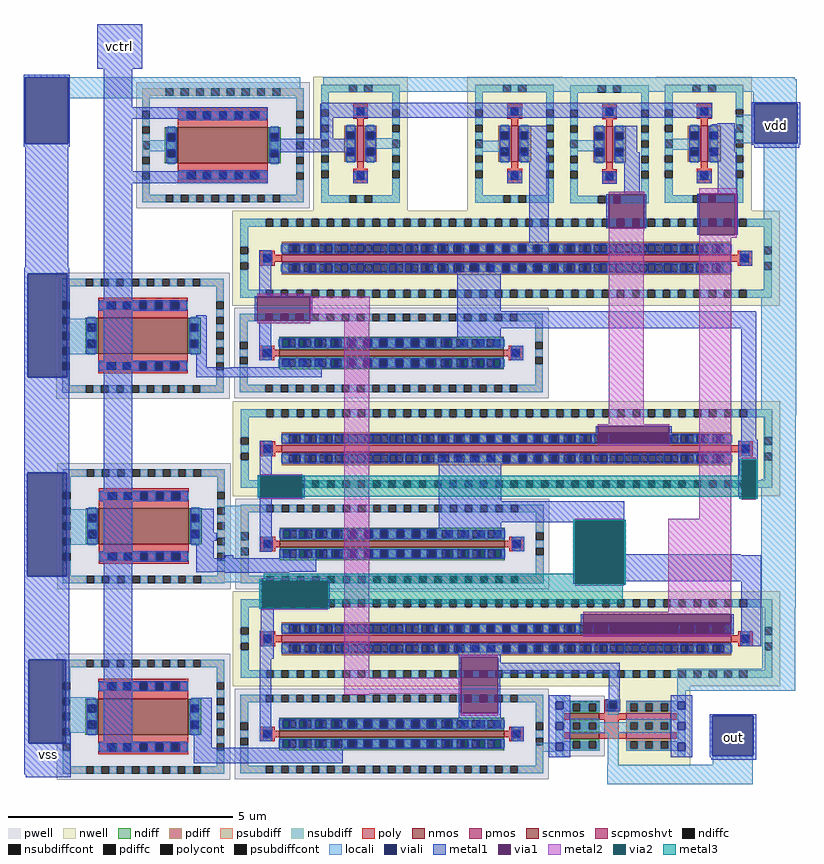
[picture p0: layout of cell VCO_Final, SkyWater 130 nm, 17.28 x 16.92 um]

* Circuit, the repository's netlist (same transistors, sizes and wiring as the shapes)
* NGSPICE file created from VCO_Final.ext - technology: sky130A

.subckt sky130_fd_sc_hd__inv_2 VPB VNB VPWR VGND Y A
X0 Y A VPWR VPB sky130_fd_pr__pfet_01v8_hvt ad=0.135 pd=1.27 as=0.26 ps=2.52 w=1 l=0.15
X1 VGND A Y VNB sky130_fd_pr__nfet_01v8 ad=0.169 pd=1.82 as=0.08775 ps=0.92 w=0.65 l=0.15
X2 Y A VGND VNB sky130_fd_pr__nfet_01v8 ad=0.08775 pd=0.92 as=0.169 ps=1.82 w=0.65 l=0.15
X3 VPWR A Y VPB sky130_fd_pr__pfet_01v8_hvt ad=0.26 pd=2.52 as=0.135 ps=1.27 w=1 l=0.15
.ends

.subckt sky130_fd_pr__nfet_01v8_BBNS5X a_15_n500# a_n175_n674# a_n73_n500# a_n33_n588#
X0 a_15_n500# a_n33_n588# a_n73_n500# a_n175_n674# sky130_fd_pr__nfet_01v8 ad=1.45 pd=10.58 as=1.45 ps=10.58 w=5 l=0.15
.ends

.subckt sky130_fd_pr__pfet_01v8_XYUFBL a_n73_n80# w_n211_n299# a_15_n80# a_n33_n177#
X0 a_15_n80# a_n33_n177# a_n73_n80# w_n211_n299# sky130_fd_pr__pfet_01v8 ad=0.232 pd=2.18 as=0.232 ps=2.18 w=0.8 l=0.15
.ends

.subckt sky130_fd_pr__pfet_01v8_XGA8MR a_n73_n1000# a_n33_n1097# w_n211_n1219# a_15_n1000#
X0 a_15_n1000# a_n33_n1097# a_n73_n1000# w_n211_n1219# sky130_fd_pr__pfet_01v8 ad=2.9 pd=20.58 as=2.9 ps=20.58 w=10 l=0.15
.ends

.subckt sky130_fd_pr__nfet_01v8_MMRDEV a_n258_n80# a_n200_n168# a_n360_n254# a_200_n80#
X0 a_200_n80# a_n200_n168# a_n258_n80# a_n360_n254# sky130_fd_pr__nfet_01v8 ad=0.232 pd=2.18 as=0.232 ps=2.18 w=0.8 l=2
.ends

.subckt VCO_Final vdd vss vctrl out
Xx1 vdd vss vdd vss out x1/A sky130_fd_sc_hd__inv_2
XM10 x1/A vss m1_1588_2388# m1_3008_2486# sky130_fd_pr__nfet_01v8_BBNS5X
XM11 vdd vdd m1_3044_5080# m1_3828_4970# sky130_fd_pr__pfet_01v8_XYUFBL
XM12 m1_3044_5080# x1/A vdd m1_3010_3332# sky130_fd_pr__pfet_01v8_XGA8MR
XM13 vss vctrl vss m1_1600_4108# sky130_fd_pr__nfet_01v8_MMRDEV
XM14 m1_1600_4108# vss m1_3010_3332# x1/A sky130_fd_pr__nfet_01v8_BBNS5X
XM1 m1_3828_4970# vctrl vss vss sky130_fd_pr__nfet_01v8_MMRDEV
XM2 m1_3828_4970# vdd vdd m1_3828_4970# sky130_fd_pr__pfet_01v8_XYUFBL
XM3 vdd vdd m1_3378_3812# m1_3828_4970# sky130_fd_pr__pfet_01v8_XYUFBL
XM4 m1_3378_3812# m1_3010_3332# vdd m1_3008_2486# sky130_fd_pr__pfet_01v8_XGA8MR
XM5 vss vctrl vss m1_1576_3378# sky130_fd_pr__nfet_01v8_MMRDEV
XM6 m1_1576_3378# vss m1_3008_2486# m1_3010_3332# sky130_fd_pr__nfet_01v8_BBNS5X
XM7 vdd vdd m1_3312_2962# m1_3828_4970# sky130_fd_pr__pfet_01v8_XYUFBL
XM8 m1_3312_2962# m1_3008_2486# vdd x1/A sky130_fd_pr__pfet_01v8_XGA8MR
XM9 m1_1588_2388# vctrl vss vss sky130_fd_pr__nfet_01v8_MMRDEV
.ends

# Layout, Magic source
magic
tech sky130A
magscale 1 2
<< nwell >>
rect 3896 5068 3964 5234
rect 3924 4948 4008 4990
rect 3838 4746 4008 4948
rect 3838 4728 4006 4746
rect 4068 3726 4100 3828
rect 3476 2734 3492 2738
rect 3476 2728 3798 2734
<< pwell >>
rect 1600 4380 1642 4384
rect 990 4210 1142 4368
rect 1600 4152 1646 4380
rect 1986 4152 2158 4182
rect 1600 4108 2158 4152
rect 1602 4106 2158 4108
rect 998 3362 1150 3520
rect 1600 3302 1678 3522
rect 1600 3240 2134 3302
rect 1600 3238 1678 3240
rect 990 2536 1142 2694
rect 1588 2390 1668 2680
<< locali >>
rect 1030 5350 2062 5442
rect 2164 5434 4264 5444
rect 2164 5378 4274 5434
rect 4080 5326 4274 5378
rect 4080 5276 4084 5326
rect 4002 5214 4084 5276
rect 1358 5114 1504 5162
rect 2358 5124 2504 5172
rect 2846 5112 2992 5160
rect 3266 5114 3412 5162
rect 3686 5120 3832 5168
rect 4000 5150 4084 5214
rect 4126 4498 4272 5148
rect 1026 4316 1142 4368
rect 1026 4272 1150 4316
rect 1026 4268 1148 4272
rect 1026 4210 1142 4268
rect 4116 3938 4272 4498
rect 4116 3928 4268 3938
rect 4126 3652 4268 3928
rect 1022 3464 1150 3520
rect 1022 3420 1154 3464
rect 1022 3362 1150 3420
rect 1718 3194 1828 3534
rect 4116 3082 4268 3652
rect 4120 3080 4268 3082
rect 4120 2810 4266 3080
rect 3742 2712 4266 2810
rect 1018 2616 1142 2682
rect 3434 2664 3476 2668
rect 3434 2630 3438 2664
rect 3472 2630 3476 2664
rect 3434 2626 3476 2630
rect 3742 2628 3778 2712
rect 1018 2572 1152 2616
rect 1018 2524 1142 2572
rect 3110 2440 3234 2480
rect 3432 2382 3480 2570
rect 3900 2382 4078 2422
rect 3430 2296 4078 2382
<< viali >>
rect 838 5146 1030 5442
rect 4084 5148 4276 5326
rect 850 4108 1026 4568
rect 846 3222 1022 3682
rect 854 2478 1018 2850
rect 3438 2630 3472 2664
rect 3898 2422 4080 2600
<< metal1 >>
rect 1158 5480 1358 5680
rect 832 5442 1036 5454
rect 832 5146 838 5442
rect 1030 5146 1036 5442
rect 832 5134 1036 5146
rect 1188 5310 1314 5480
rect 2160 5324 3896 5330
rect 1188 5258 1916 5310
rect 2152 5262 3896 5324
rect 4072 5326 4288 5332
rect 838 4594 1030 5134
rect 1188 5024 1314 5258
rect 2152 5168 2210 5262
rect 3920 5234 3996 5238
rect 1930 5110 2308 5168
rect 3074 5108 3160 5228
rect 3506 5108 3564 5226
rect 3896 5108 3996 5234
rect 4072 5148 4084 5326
rect 4276 5148 4288 5326
rect 4072 5142 4288 5148
rect 4084 5130 4284 5142
rect 3082 5106 3170 5108
rect 3506 5106 3574 5108
rect 3044 5080 3170 5106
rect 1188 4972 1918 5024
rect 834 4568 1034 4594
rect 834 4108 850 4568
rect 1026 4108 1034 4568
rect 834 3682 1034 4108
rect 834 3222 846 3682
rect 1022 3222 1034 3682
rect 834 2850 1034 3222
rect 834 2478 854 2850
rect 1018 2526 1034 2850
rect 1018 2478 1040 2526
rect 834 2340 1040 2478
rect 1188 2443 1314 4972
rect 2298 4970 2364 5020
rect 2984 4970 3050 5020
rect 3082 4700 3170 5080
rect 3462 5078 3574 5106
rect 3890 5080 4006 5108
rect 3406 4968 3472 5018
rect 3506 4922 3574 5078
rect 3896 5068 4006 5080
rect 3828 4970 3894 5020
rect 3922 4990 4006 5068
rect 3922 4924 4008 4990
rect 3426 4770 3436 4922
rect 3594 4770 3604 4922
rect 3830 4742 3840 4924
rect 4000 4742 4010 4924
rect 3136 4698 3170 4700
rect 1880 4468 1934 4672
rect 3128 4664 3162 4698
rect 2908 4580 2956 4610
rect 4026 4604 4076 4670
rect 1600 4380 1642 4384
rect 1600 4152 1646 4380
rect 1860 4358 1870 4468
rect 2106 4358 2116 4468
rect 2762 4400 2956 4580
rect 2762 4398 4088 4400
rect 1880 4182 1934 4358
rect 2762 4326 4092 4398
rect 2762 4244 2956 4326
rect 2908 4242 2956 4244
rect 3006 4182 3056 4248
rect 1986 4164 2158 4182
rect 1968 4152 2158 4164
rect 1600 4150 1720 4152
rect 1756 4150 2158 4152
rect 1600 4108 2158 4150
rect 1602 4106 2158 4108
rect 1882 3666 1936 3824
rect 3378 3812 3388 3888
rect 3706 3812 3716 3888
rect 4026 3828 4092 4326
rect 4026 3824 4100 3828
rect 2912 3750 2958 3764
rect 1874 3576 1884 3666
rect 2072 3576 2082 3666
rect 1600 3414 1678 3522
rect 1576 3378 1690 3414
rect 1600 3302 1678 3378
rect 1882 3330 1936 3576
rect 2678 3556 2958 3750
rect 4012 3738 4100 3824
rect 4012 3576 4028 3738
rect 4018 3572 4028 3576
rect 4090 3572 4100 3738
rect 2678 3468 3504 3556
rect 2678 3462 3288 3468
rect 2678 3394 2958 3462
rect 2912 3392 2958 3394
rect 3010 3332 3060 3398
rect 1728 3302 1764 3314
rect 1984 3302 2014 3322
rect 1600 3240 2134 3302
rect 1600 3238 1678 3240
rect 1726 3236 2014 3240
rect 1880 3082 1890 3202
rect 2184 3082 2194 3202
rect 3278 3188 3288 3462
rect 3502 3320 3512 3468
rect 3502 3314 4024 3320
rect 3502 3198 4114 3314
rect 3502 3188 3512 3198
rect 1886 2978 1944 3082
rect 1882 2854 1944 2978
rect 3312 2962 3322 3052
rect 3982 2962 3992 3052
rect 2910 2914 2956 2916
rect 2768 2860 2956 2914
rect 4026 2910 4114 3198
rect 1588 2458 1668 2680
rect 1882 2486 1934 2854
rect 2768 2610 2778 2860
rect 2942 2836 2956 2860
rect 2942 2790 3486 2836
rect 2942 2772 2956 2790
rect 2942 2694 2954 2772
rect 2942 2610 2956 2694
rect 3436 2674 3486 2790
rect 3422 2664 3488 2674
rect 3422 2630 3438 2664
rect 3472 2630 3488 2664
rect 3422 2620 3488 2630
rect 2768 2548 2956 2610
rect 3886 2600 4092 2606
rect 3008 2486 3058 2552
rect 1588 2388 2252 2458
rect 3886 2422 3898 2600
rect 4080 2422 4092 2600
rect 3886 2416 4092 2422
rect 3892 2404 4092 2416
rect 840 2326 1040 2340
<< via1 >>
rect 3436 4770 3594 4922
rect 3840 4742 4000 4924
rect 1870 4358 2106 4468
rect 3388 3812 3706 3888
rect 1884 3576 2072 3666
rect 4028 3572 4090 3738
rect 1890 3082 2184 3202
rect 3288 3188 3502 3468
rect 3322 2962 3982 3052
rect 2778 2610 2942 2860
<< metal2 >>
rect 3436 4922 3594 4932
rect 3436 4760 3594 4770
rect 3838 4924 4006 4948
rect 1870 4468 2106 4478
rect 2106 4358 2372 4466
rect 1870 4356 2372 4358
rect 1870 4348 2106 4356
rect 1884 3666 2072 3676
rect 1884 3566 2072 3576
rect 1890 3202 2184 3212
rect 1890 3072 2184 3082
rect 2258 2768 2370 4356
rect 3436 3898 3592 4760
rect 3838 4742 3840 4924
rect 4000 4742 4006 4924
rect 3838 4728 4006 4742
rect 3388 3888 3706 3898
rect 3388 3802 3706 3812
rect 3288 3468 3502 3478
rect 3838 3476 3982 4728
rect 4028 3738 4090 3748
rect 4028 3562 4090 3572
rect 3702 3470 3982 3476
rect 3288 3178 3502 3188
rect 3700 3062 3982 3470
rect 3322 3052 3982 3062
rect 3322 2952 3982 2962
rect 2778 2860 2942 2870
rect 2258 2698 2778 2768
rect 2258 2694 2370 2698
rect 2778 2600 2942 2610
<< via2 >>
rect 1884 3576 2072 3666
rect 1890 3082 2184 3202
rect 4028 3572 4090 3738
rect 3288 3188 3502 3468
<< metal3 >>
rect 4018 3738 4100 3743
rect 1874 3668 2082 3671
rect 4018 3668 4028 3738
rect 1874 3666 4028 3668
rect 1874 3576 1884 3666
rect 2072 3576 4028 3666
rect 1874 3574 4028 3576
rect 1874 3571 2082 3574
rect 4018 3572 4028 3574
rect 4090 3572 4100 3738
rect 4018 3567 4100 3572
rect 3278 3468 3512 3473
rect 3278 3232 3288 3468
rect 1900 3207 3288 3232
rect 1880 3202 3288 3207
rect 1880 3082 1890 3202
rect 2184 3188 3288 3202
rect 3502 3188 3512 3468
rect 2184 3183 3512 3188
rect 2184 3098 3498 3183
rect 2184 3082 2194 3098
rect 1880 3077 2194 3082
use sky130_fd_pr__nfet_01v8_MMRDEV  M1
transform -1 0 1718 0 -1 5140
box -386 -280 386 280
use sky130_fd_pr__pfet_01v8_XYUFBL  M2
transform 1 0 2331 0 1 5147
box -211 -299 211 299
use sky130_fd_pr__pfet_01v8_XYUFBL  M3
transform 1 0 3439 0 1 5145
box -211 -299 211 299
use sky130_fd_pr__pfet_01v8_XGA8MR  M4
transform 0 1 2981 -1 0 3789
box -211 -1219 211 1219
use sky130_fd_pr__nfet_01v8_MMRDEV  M5
transform 1 0 1366 0 1 3444
box -386 -280 386 280
use sky130_fd_pr__nfet_01v8_BBNS5X  M6
transform 0 1 2472 -1 0 3365
box -201 -700 201 700
use sky130_fd_pr__pfet_01v8_XYUFBL  M7
transform 1 0 3861 0 1 5147
box -211 -299 211 299
use sky130_fd_pr__pfet_01v8_XGA8MR  M8
transform 0 1 2981 -1 0 2943
box -211 -1219 211 1219
use sky130_fd_pr__nfet_01v8_MMRDEV  M9
transform -1 0 1364 0 1 2596
box -386 -280 386 280
use sky130_fd_pr__nfet_01v8_BBNS5X  M10
transform 0 1 2470 1 0 2519
box -201 -700 201 700
use sky130_fd_pr__pfet_01v8_XYUFBL  M11
transform 1 0 3017 0 1 5147
box -211 -299 211 299
use sky130_fd_pr__pfet_01v8_XGA8MR  M12
transform 0 1 2979 -1 0 4637
box -211 -1219 211 1219
use sky130_fd_pr__nfet_01v8_MMRDEV  M13
transform 1 0 1362 0 1 4292
box -386 -280 386 280
use sky130_fd_pr__nfet_01v8_BBNS5X  M14
transform 0 1 2468 -1 0 4215
box -201 -700 201 700
use sky130_fd_sc_hd__inv_2  x1
transform 0 1 3216 -1 0 2692
box -38 -48 314 592
<< labels >>
flabel metal1 s 3892 2404 4092 2604 0 FreeSans 320 0 0 0 out
port 4 nsew
flabel metal1 s 4084 5130 4284 5330 0 FreeSans 320 180 0 0 vdd
port 1 nsew
flabel metal1 s 840 2326 1040 2526 0 FreeSans 320 0 0 0 vss
port 2 nsew
flabel metal1 s 1158 5480 1358 5680 0 FreeSans 320 0 0 0 vctrl
port 3 nsew
<< end >>

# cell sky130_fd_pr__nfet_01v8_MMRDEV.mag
magic
tech sky130A
magscale 1 2
<< pwell >>
rect -386 -280 386 280
<< nmos >>
rect -200 -80 200 80
<< ndiff >>
rect -258 51 -200 80
rect -258 17 -246 51
rect -212 17 -200 51
rect -258 -17 -200 17
rect -258 -51 -246 -17
rect -212 -51 -200 -17
rect -258 -80 -200 -51
rect 200 51 258 80
rect 200 17 212 51
rect 246 17 258 51
rect 200 -17 258 17
rect 200 -51 212 -17
rect 246 -51 258 -17
rect 200 -80 258 -51
<< ndiffc >>
rect -246 17 -212 51
rect -246 -51 -212 -17
rect 212 17 246 51
rect 212 -51 246 -17
<< psubdiff >>
rect -360 220 -255 254
rect -221 220 -187 254
rect -153 220 -119 254
rect -85 220 -51 254
rect -17 220 17 254
rect 51 220 85 254
rect 119 220 153 254
rect 187 220 221 254
rect 255 220 360 254
rect -360 153 -326 220
rect -360 85 -326 119
rect 326 153 360 220
rect 326 85 360 119
rect -360 17 -326 51
rect -360 -51 -326 -17
rect 326 17 360 51
rect 326 -51 360 -17
rect -360 -119 -326 -85
rect -360 -220 -326 -153
rect 326 -119 360 -85
rect 326 -220 360 -153
rect -360 -254 -255 -220
rect -221 -254 -187 -220
rect -153 -254 -119 -220
rect -85 -254 -51 -220
rect -17 -254 17 -220
rect 51 -254 85 -220
rect 119 -254 153 -220
rect 187 -254 221 -220
rect 255 -254 360 -220
<< psubdiffcont >>
rect -255 220 -221 254
rect -187 220 -153 254
rect -119 220 -85 254
rect -51 220 -17 254
rect 17 220 51 254
rect 85 220 119 254
rect 153 220 187 254
rect 221 220 255 254
rect -360 119 -326 153
rect -360 51 -326 85
rect 326 119 360 153
rect -360 -17 -326 17
rect -360 -85 -326 -51
rect 326 51 360 85
rect 326 -17 360 17
rect -360 -153 -326 -119
rect 326 -85 360 -51
rect 326 -153 360 -119
rect -255 -254 -221 -220
rect -187 -254 -153 -220
rect -119 -254 -85 -220
rect -51 -254 -17 -220
rect 17 -254 51 -220
rect 85 -254 119 -220
rect 153 -254 187 -220
rect 221 -254 255 -220
<< poly >>
rect -200 152 200 168
rect -200 118 -153 152
rect -119 118 -85 152
rect -51 118 -17 152
rect 17 118 51 152
rect 85 118 119 152
rect 153 118 200 152
rect -200 80 200 118
rect -200 -118 200 -80
rect -200 -152 -153 -118
rect -119 -152 -85 -118
rect -51 -152 -17 -118
rect 17 -152 51 -118
rect 85 -152 119 -118
rect 153 -152 200 -118
rect -200 -168 200 -152
<< polycont >>
rect -153 118 -119 152
rect -85 118 -51 152
rect -17 118 17 152
rect 51 118 85 152
rect 119 118 153 152
rect -153 -152 -119 -118
rect -85 -152 -51 -118
rect -17 -152 17 -118
rect 51 -152 85 -118
rect 119 -152 153 -118
<< locali >>
rect -360 220 -255 254
rect -221 220 -187 254
rect -153 220 -119 254
rect -85 220 -51 254
rect -17 220 17 254
rect 51 220 85 254
rect 119 220 153 254
rect 187 220 221 254
rect 255 220 360 254
rect -360 153 -326 220
rect 326 153 360 220
rect -360 85 -326 119
rect -200 118 -161 152
rect -119 118 -89 152
rect -51 118 -17 152
rect 17 118 51 152
rect 89 118 119 152
rect 161 118 200 152
rect 326 85 360 119
rect -360 17 -326 51
rect -360 -51 -326 -17
rect -246 53 -212 84
rect -246 -17 -212 17
rect -246 -84 -212 -53
rect 212 53 246 84
rect 212 -17 246 17
rect 212 -84 246 -53
rect 326 17 360 51
rect 326 -51 360 -17
rect -360 -119 -326 -85
rect -200 -152 -161 -118
rect -119 -152 -89 -118
rect -51 -152 -17 -118
rect 17 -152 51 -118
rect 89 -152 119 -118
rect 161 -152 200 -118
rect 326 -119 360 -85
rect -360 -220 -326 -153
rect 326 -220 360 -153
rect -360 -254 -255 -220
rect -221 -254 -187 -220
rect -153 -254 -119 -220
rect -85 -254 -51 -220
rect -17 -254 17 -220
rect 51 -254 85 -220
rect 119 -254 153 -220
rect 187 -254 221 -220
rect 255 -254 360 -220
<< viali >>
rect -161 118 -153 152
rect -153 118 -127 152
rect -89 118 -85 152
rect -85 118 -55 152
rect -17 118 17 152
rect 55 118 85 152
rect 85 118 89 152
rect 127 118 153 152
rect 153 118 161 152
rect -246 51 -212 53
rect -246 19 -212 51
rect -246 -51 -212 -19
rect -246 -53 -212 -51
rect 212 51 246 53
rect 212 19 246 51
rect 212 -51 246 -19
rect 212 -53 246 -51
rect -161 -152 -153 -118
rect -153 -152 -127 -118
rect -89 -152 -85 -118
rect -85 -152 -55 -118
rect -17 -152 17 -118
rect 55 -152 85 -118
rect 85 -152 89 -118
rect 127 -152 153 -118
rect 153 -152 161 -118
<< metal1 >>
rect -196 152 196 158
rect -196 118 -161 152
rect -127 118 -89 152
rect -55 118 -17 152
rect 17 118 55 152
rect 89 118 127 152
rect 161 118 196 152
rect -196 112 196 118
rect -252 53 -206 80
rect -252 19 -246 53
rect -212 19 -206 53
rect -252 -19 -206 19
rect -252 -53 -246 -19
rect -212 -53 -206 -19
rect -252 -80 -206 -53
rect 206 53 252 80
rect 206 19 212 53
rect 246 19 252 53
rect 206 -19 252 19
rect 206 -53 212 -19
rect 246 -53 252 -19
rect 206 -80 252 -53
rect -196 -118 196 -112
rect -196 -152 -161 -118
rect -127 -152 -89 -118
rect -55 -152 -17 -118
rect 17 -152 55 -118
rect 89 -152 127 -118
rect 161 -152 196 -118
rect -196 -158 196 -152
<< properties >>
string FIXED_BBOX -342 -236 342 236
<< end >>

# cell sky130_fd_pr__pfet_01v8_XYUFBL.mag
magic
tech sky130A
magscale 1 2
<< nwell >>
rect -211 -299 211 299
<< pmos >>
rect -15 -80 15 80
<< pdiff >>
rect -73 51 -15 80
rect -73 17 -61 51
rect -27 17 -15 51
rect -73 -17 -15 17
rect -73 -51 -61 -17
rect -27 -51 -15 -17
rect -73 -80 -15 -51
rect 15 51 73 80
rect 15 17 27 51
rect 61 17 73 51
rect 15 -17 73 17
rect 15 -51 27 -17
rect 61 -51 73 -17
rect 15 -80 73 -51
<< pdiffc >>
rect -61 17 -27 51
rect -61 -51 -27 -17
rect 27 17 61 51
rect 27 -51 61 -17
<< nsubdiff >>
rect -175 229 -51 263
rect -17 229 17 263
rect 51 229 175 263
rect -175 153 -141 229
rect -175 85 -141 119
rect 141 153 175 229
rect 141 85 175 119
rect -175 17 -141 51
rect -175 -51 -141 -17
rect 141 17 175 51
rect 141 -51 175 -17
rect -175 -119 -141 -85
rect -175 -229 -141 -153
rect 141 -119 175 -85
rect 141 -229 175 -153
rect -175 -263 -51 -229
rect -17 -263 17 -229
rect 51 -263 175 -229
<< nsubdiffcont >>
rect -51 229 -17 263
rect 17 229 51 263
rect -175 119 -141 153
rect 141 119 175 153
rect -175 51 -141 85
rect -175 -17 -141 17
rect -175 -85 -141 -51
rect 141 51 175 85
rect 141 -17 175 17
rect 141 -85 175 -51
rect -175 -153 -141 -119
rect 141 -153 175 -119
rect -51 -263 -17 -229
rect 17 -263 51 -229
<< poly >>
rect -33 161 33 177
rect -33 127 -17 161
rect 17 127 33 161
rect -33 111 33 127
rect -15 80 15 111
rect -15 -111 15 -80
rect -33 -127 33 -111
rect -33 -161 -17 -127
rect 17 -161 33 -127
rect -33 -177 33 -161
<< polycont >>
rect -17 127 17 161
rect -17 -161 17 -127
<< locali >>
rect -175 229 -51 263
rect -17 229 17 263
rect 51 229 175 263
rect -175 153 -141 229
rect -33 127 -17 161
rect 17 127 33 161
rect 141 153 175 229
rect -175 85 -141 119
rect 141 85 175 119
rect -175 17 -141 51
rect -175 -51 -141 -17
rect -61 53 -27 84
rect -61 -17 -27 17
rect -61 -84 -27 -53
rect 27 53 61 84
rect 27 -17 61 17
rect 27 -84 61 -53
rect 141 17 175 51
rect 141 -51 175 -17
rect -175 -119 -141 -85
rect 141 -119 175 -85
rect -175 -229 -141 -153
rect -33 -161 -17 -127
rect 17 -161 33 -127
rect 141 -229 175 -153
rect -175 -263 -51 -229
rect -17 -263 17 -229
rect 51 -263 175 -229
<< viali >>
rect -17 127 17 161
rect -61 51 -27 53
rect -61 19 -27 51
rect -61 -51 -27 -19
rect -61 -53 -27 -51
rect 27 51 61 53
rect 27 19 61 51
rect 27 -51 61 -19
rect 27 -53 61 -51
rect -17 -161 17 -127
<< metal1 >>
rect -29 161 29 167
rect -29 127 -17 161
rect 17 127 29 161
rect -29 121 29 127
rect -67 53 -21 80
rect -67 19 -61 53
rect -27 19 -21 53
rect -67 -19 -21 19
rect -67 -53 -61 -19
rect -27 -53 -21 -19
rect -67 -80 -21 -53
rect 21 53 67 80
rect 21 19 27 53
rect 61 19 67 53
rect 21 -19 67 19
rect 21 -53 27 -19
rect 61 -53 67 -19
rect 21 -80 67 -53
rect -29 -127 29 -121
rect -29 -161 -17 -127
rect 17 -161 29 -127
rect -29 -167 29 -161
<< properties >>
string FIXED_BBOX -158 -246 158 246
<< end >>

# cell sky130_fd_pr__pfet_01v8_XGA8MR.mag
magic
tech sky130A
magscale 1 2
<< nwell >>
rect -211 -1219 211 1219
<< pmos >>
rect -15 -1000 15 1000
<< pdiff >>
rect -73 969 -15 1000
rect -73 935 -61 969
rect -27 935 -15 969
rect -73 901 -15 935
rect -73 867 -61 901
rect -27 867 -15 901
rect -73 833 -15 867
rect -73 799 -61 833
rect -27 799 -15 833
rect -73 765 -15 799
rect -73 731 -61 765
rect -27 731 -15 765
rect -73 697 -15 731
rect -73 663 -61 697
rect -27 663 -15 697
rect -73 629 -15 663
rect -73 595 -61 629
rect -27 595 -15 629
rect -73 561 -15 595
rect -73 527 -61 561
rect -27 527 -15 561
rect -73 493 -15 527
rect -73 459 -61 493
rect -27 459 -15 493
rect -73 425 -15 459
rect -73 391 -61 425
rect -27 391 -15 425
rect -73 357 -15 391
rect -73 323 -61 357
rect -27 323 -15 357
rect -73 289 -15 323
rect -73 255 -61 289
rect -27 255 -15 289
rect -73 221 -15 255
rect -73 187 -61 221
rect -27 187 -15 221
rect -73 153 -15 187
rect -73 119 -61 153
rect -27 119 -15 153
rect -73 85 -15 119
rect -73 51 -61 85
rect -27 51 -15 85
rect -73 17 -15 51
rect -73 -17 -61 17
rect -27 -17 -15 17
rect -73 -51 -15 -17
rect -73 -85 -61 -51
rect -27 -85 -15 -51
rect -73 -119 -15 -85
rect -73 -153 -61 -119
rect -27 -153 -15 -119
rect -73 -187 -15 -153
rect -73 -221 -61 -187
rect -27 -221 -15 -187
rect -73 -255 -15 -221
rect -73 -289 -61 -255
rect -27 -289 -15 -255
rect -73 -323 -15 -289
rect -73 -357 -61 -323
rect -27 -357 -15 -323
rect -73 -391 -15 -357
rect -73 -425 -61 -391
rect -27 -425 -15 -391
rect -73 -459 -15 -425
rect -73 -493 -61 -459
rect -27 -493 -15 -459
rect -73 -527 -15 -493
rect -73 -561 -61 -527
rect -27 -561 -15 -527
rect -73 -595 -15 -561
rect -73 -629 -61 -595
rect -27 -629 -15 -595
rect -73 -663 -15 -629
rect -73 -697 -61 -663
rect -27 -697 -15 -663
rect -73 -731 -15 -697
rect -73 -765 -61 -731
rect -27 -765 -15 -731
rect -73 -799 -15 -765
rect -73 -833 -61 -799
rect -27 -833 -15 -799
rect -73 -867 -15 -833
rect -73 -901 -61 -867
rect -27 -901 -15 -867
rect -73 -935 -15 -901
rect -73 -969 -61 -935
rect -27 -969 -15 -935
rect -73 -1000 -15 -969
rect 15 969 73 1000
rect 15 935 27 969
rect 61 935 73 969
rect 15 901 73 935
rect 15 867 27 901
rect 61 867 73 901
rect 15 833 73 867
rect 15 799 27 833
rect 61 799 73 833
rect 15 765 73 799
rect 15 731 27 765
rect 61 731 73 765
rect 15 697 73 731
rect 15 663 27 697
rect 61 663 73 697
rect 15 629 73 663
rect 15 595 27 629
rect 61 595 73 629
rect 15 561 73 595
rect 15 527 27 561
rect 61 527 73 561
rect 15 493 73 527
rect 15 459 27 493
rect 61 459 73 493
rect 15 425 73 459
rect 15 391 27 425
rect 61 391 73 425
rect 15 357 73 391
rect 15 323 27 357
rect 61 323 73 357
rect 15 289 73 323
rect 15 255 27 289
rect 61 255 73 289
rect 15 221 73 255
rect 15 187 27 221
rect 61 187 73 221
rect 15 153 73 187
rect 15 119 27 153
rect 61 119 73 153
rect 15 85 73 119
rect 15 51 27 85
rect 61 51 73 85
rect 15 17 73 51
rect 15 -17 27 17
rect 61 -17 73 17
rect 15 -51 73 -17
rect 15 -85 27 -51
rect 61 -85 73 -51
rect 15 -119 73 -85
rect 15 -153 27 -119
rect 61 -153 73 -119
rect 15 -187 73 -153
rect 15 -221 27 -187
rect 61 -221 73 -187
rect 15 -255 73 -221
rect 15 -289 27 -255
rect 61 -289 73 -255
rect 15 -323 73 -289
rect 15 -357 27 -323
rect 61 -357 73 -323
rect 15 -391 73 -357
rect 15 -425 27 -391
rect 61 -425 73 -391
rect 15 -459 73 -425
rect 15 -493 27 -459
rect 61 -493 73 -459
rect 15 -527 73 -493
rect 15 -561 27 -527
rect 61 -561 73 -527
rect 15 -595 73 -561
rect 15 -629 27 -595
rect 61 -629 73 -595
rect 15 -663 73 -629
rect 15 -697 27 -663
rect 61 -697 73 -663
rect 15 -731 73 -697
rect 15 -765 27 -731
rect 61 -765 73 -731
rect 15 -799 73 -765
rect 15 -833 27 -799
rect 61 -833 73 -799
rect 15 -867 73 -833
rect 15 -901 27 -867
rect 61 -901 73 -867
rect 15 -935 73 -901
rect 15 -969 27 -935
rect 61 -969 73 -935
rect 15 -1000 73 -969
<< pdiffc >>
rect -61 935 -27 969
rect -61 867 -27 901
rect -61 799 -27 833
rect -61 731 -27 765
rect -61 663 -27 697
rect -61 595 -27 629
rect -61 527 -27 561
rect -61 459 -27 493
rect -61 391 -27 425
rect -61 323 -27 357
rect -61 255 -27 289
rect -61 187 -27 221
rect -61 119 -27 153
rect -61 51 -27 85
rect -61 -17 -27 17
rect -61 -85 -27 -51
rect -61 -153 -27 -119
rect -61 -221 -27 -187
rect -61 -289 -27 -255
rect -61 -357 -27 -323
rect -61 -425 -27 -391
rect -61 -493 -27 -459
rect -61 -561 -27 -527
rect -61 -629 -27 -595
rect -61 -697 -27 -663
rect -61 -765 -27 -731
rect -61 -833 -27 -799
rect -61 -901 -27 -867
rect -61 -969 -27 -935
rect 27 935 61 969
rect 27 867 61 901
rect 27 799 61 833
rect 27 731 61 765
rect 27 663 61 697
rect 27 595 61 629
rect 27 527 61 561
rect 27 459 61 493
rect 27 391 61 425
rect 27 323 61 357
rect 27 255 61 289
rect 27 187 61 221
rect 27 119 61 153
rect 27 51 61 85
rect 27 -17 61 17
rect 27 -85 61 -51
rect 27 -153 61 -119
rect 27 -221 61 -187
rect 27 -289 61 -255
rect 27 -357 61 -323
rect 27 -425 61 -391
rect 27 -493 61 -459
rect 27 -561 61 -527
rect 27 -629 61 -595
rect 27 -697 61 -663
rect 27 -765 61 -731
rect 27 -833 61 -799
rect 27 -901 61 -867
rect 27 -969 61 -935
<< nsubdiff >>
rect -175 1149 -51 1183
rect -17 1149 17 1183
rect 51 1149 175 1183
rect -175 1071 -141 1149
rect -175 1003 -141 1037
rect 141 1071 175 1149
rect 141 1003 175 1037
rect -175 935 -141 969
rect -175 867 -141 901
rect -175 799 -141 833
rect -175 731 -141 765
rect -175 663 -141 697
rect -175 595 -141 629
rect -175 527 -141 561
rect -175 459 -141 493
rect -175 391 -141 425
rect -175 323 -141 357
rect -175 255 -141 289
rect -175 187 -141 221
rect -175 119 -141 153
rect -175 51 -141 85
rect -175 -17 -141 17
rect -175 -85 -141 -51
rect -175 -153 -141 -119
rect -175 -221 -141 -187
rect -175 -289 -141 -255
rect -175 -357 -141 -323
rect -175 -425 -141 -391
rect -175 -493 -141 -459
rect -175 -561 -141 -527
rect -175 -629 -141 -595
rect -175 -697 -141 -663
rect -175 -765 -141 -731
rect -175 -833 -141 -799
rect -175 -901 -141 -867
rect -175 -969 -141 -935
rect 141 935 175 969
rect 141 867 175 901
rect 141 799 175 833
rect 141 731 175 765
rect 141 663 175 697
rect 141 595 175 629
rect 141 527 175 561
rect 141 459 175 493
rect 141 391 175 425
rect 141 323 175 357
rect 141 255 175 289
rect 141 187 175 221
rect 141 119 175 153
rect 141 51 175 85
rect 141 -17 175 17
rect 141 -85 175 -51
rect 141 -153 175 -119
rect 141 -221 175 -187
rect 141 -289 175 -255
rect 141 -357 175 -323
rect 141 -425 175 -391
rect 141 -493 175 -459
rect 141 -561 175 -527
rect 141 -629 175 -595
rect 141 -697 175 -663
rect 141 -765 175 -731
rect 141 -833 175 -799
rect 141 -901 175 -867
rect 141 -969 175 -935
rect -175 -1037 -141 -1003
rect -175 -1149 -141 -1071
rect 141 -1037 175 -1003
rect 141 -1149 175 -1071
rect -175 -1183 -51 -1149
rect -17 -1183 17 -1149
rect 51 -1183 175 -1149
<< nsubdiffcont >>
rect -51 1149 -17 1183
rect 17 1149 51 1183
rect -175 1037 -141 1071
rect 141 1037 175 1071
rect -175 969 -141 1003
rect -175 901 -141 935
rect -175 833 -141 867
rect -175 765 -141 799
rect -175 697 -141 731
rect -175 629 -141 663
rect -175 561 -141 595
rect -175 493 -141 527
rect -175 425 -141 459
rect -175 357 -141 391
rect -175 289 -141 323
rect -175 221 -141 255
rect -175 153 -141 187
rect -175 85 -141 119
rect -175 17 -141 51
rect -175 -51 -141 -17
rect -175 -119 -141 -85
rect -175 -187 -141 -153
rect -175 -255 -141 -221
rect -175 -323 -141 -289
rect -175 -391 -141 -357
rect -175 -459 -141 -425
rect -175 -527 -141 -493
rect -175 -595 -141 -561
rect -175 -663 -141 -629
rect -175 -731 -141 -697
rect -175 -799 -141 -765
rect -175 -867 -141 -833
rect -175 -935 -141 -901
rect -175 -1003 -141 -969
rect 141 969 175 1003
rect 141 901 175 935
rect 141 833 175 867
rect 141 765 175 799
rect 141 697 175 731
rect 141 629 175 663
rect 141 561 175 595
rect 141 493 175 527
rect 141 425 175 459
rect 141 357 175 391
rect 141 289 175 323
rect 141 221 175 255
rect 141 153 175 187
rect 141 85 175 119
rect 141 17 175 51
rect 141 -51 175 -17
rect 141 -119 175 -85
rect 141 -187 175 -153
rect 141 -255 175 -221
rect 141 -323 175 -289
rect 141 -391 175 -357
rect 141 -459 175 -425
rect 141 -527 175 -493
rect 141 -595 175 -561
rect 141 -663 175 -629
rect 141 -731 175 -697
rect 141 -799 175 -765
rect 141 -867 175 -833
rect 141 -935 175 -901
rect 141 -1003 175 -969
rect -175 -1071 -141 -1037
rect 141 -1071 175 -1037
rect -51 -1183 -17 -1149
rect 17 -1183 51 -1149
<< poly >>
rect -33 1081 33 1097
rect -33 1047 -17 1081
rect 17 1047 33 1081
rect -33 1031 33 1047
rect -15 1000 15 1031
rect -15 -1031 15 -1000
rect -33 -1047 33 -1031
rect -33 -1081 -17 -1047
rect 17 -1081 33 -1047
rect -33 -1097 33 -1081
<< polycont >>
rect -17 1047 17 1081
rect -17 -1081 17 -1047
<< locali >>
rect -175 1149 -51 1183
rect -17 1149 17 1183
rect 51 1149 175 1183
rect -175 1071 -141 1149
rect -33 1047 -17 1081
rect 17 1047 33 1081
rect 141 1071 175 1149
rect -175 1003 -141 1037
rect -175 935 -141 969
rect -175 867 -141 901
rect -175 799 -141 833
rect -175 731 -141 765
rect -175 663 -141 697
rect -175 595 -141 629
rect -175 527 -141 561
rect -175 459 -141 493
rect -175 391 -141 425
rect -175 323 -141 357
rect -175 255 -141 289
rect -175 187 -141 221
rect -175 119 -141 153
rect -175 51 -141 85
rect -175 -17 -141 17
rect -175 -85 -141 -51
rect -175 -153 -141 -119
rect -175 -221 -141 -187
rect -175 -289 -141 -255
rect -175 -357 -141 -323
rect -175 -425 -141 -391
rect -175 -493 -141 -459
rect -175 -561 -141 -527
rect -175 -629 -141 -595
rect -175 -697 -141 -663
rect -175 -765 -141 -731
rect -175 -833 -141 -799
rect -175 -901 -141 -867
rect -175 -969 -141 -935
rect -175 -1037 -141 -1003
rect -61 969 -27 1004
rect -61 901 -27 919
rect -61 833 -27 847
rect -61 765 -27 775
rect -61 697 -27 703
rect -61 629 -27 631
rect -61 593 -27 595
rect -61 521 -27 527
rect -61 449 -27 459
rect -61 377 -27 391
rect -61 305 -27 323
rect -61 233 -27 255
rect -61 161 -27 187
rect -61 89 -27 119
rect -61 17 -27 51
rect -61 -51 -27 -17
rect -61 -119 -27 -89
rect -61 -187 -27 -161
rect -61 -255 -27 -233
rect -61 -323 -27 -305
rect -61 -391 -27 -377
rect -61 -459 -27 -449
rect -61 -527 -27 -521
rect -61 -595 -27 -593
rect -61 -631 -27 -629
rect -61 -703 -27 -697
rect -61 -775 -27 -765
rect -61 -847 -27 -833
rect -61 -919 -27 -901
rect -61 -1004 -27 -969
rect 27 969 61 1004
rect 27 901 61 919
rect 27 833 61 847
rect 27 765 61 775
rect 27 697 61 703
rect 27 629 61 631
rect 27 593 61 595
rect 27 521 61 527
rect 27 449 61 459
rect 27 377 61 391
rect 27 305 61 323
rect 27 233 61 255
rect 27 161 61 187
rect 27 89 61 119
rect 27 17 61 51
rect 27 -51 61 -17
rect 27 -119 61 -89
rect 27 -187 61 -161
rect 27 -255 61 -233
rect 27 -323 61 -305
rect 27 -391 61 -377
rect 27 -459 61 -449
rect 27 -527 61 -521
rect 27 -595 61 -593
rect 27 -631 61 -629
rect 27 -703 61 -697
rect 27 -775 61 -765
rect 27 -847 61 -833
rect 27 -919 61 -901
rect 27 -1004 61 -969
rect 141 1003 175 1037
rect 141 935 175 969
rect 141 867 175 901
rect 141 799 175 833
rect 141 731 175 765
rect 141 663 175 697
rect 141 595 175 629
rect 141 527 175 561
rect 141 459 175 493
rect 141 391 175 425
rect 141 323 175 357
rect 141 255 175 289
rect 141 187 175 221
rect 141 119 175 153
rect 141 51 175 85
rect 141 -17 175 17
rect 141 -85 175 -51
rect 141 -153 175 -119
rect 141 -221 175 -187
rect 141 -289 175 -255
rect 141 -357 175 -323
rect 141 -425 175 -391
rect 141 -493 175 -459
rect 141 -561 175 -527
rect 141 -629 175 -595
rect 141 -697 175 -663
rect 141 -765 175 -731
rect 141 -833 175 -799
rect 141 -901 175 -867
rect 141 -969 175 -935
rect 141 -1037 175 -1003
rect -175 -1149 -141 -1071
rect -33 -1081 -17 -1047
rect 17 -1081 33 -1047
rect 141 -1149 175 -1071
rect -175 -1183 -51 -1149
rect -17 -1183 17 -1149
rect 51 -1183 175 -1149
<< viali >>
rect -17 1047 17 1081
rect -61 935 -27 953
rect -61 919 -27 935
rect -61 867 -27 881
rect -61 847 -27 867
rect -61 799 -27 809
rect -61 775 -27 799
rect -61 731 -27 737
rect -61 703 -27 731
rect -61 663 -27 665
rect -61 631 -27 663
rect -61 561 -27 593
rect -61 559 -27 561
rect -61 493 -27 521
rect -61 487 -27 493
rect -61 425 -27 449
rect -61 415 -27 425
rect -61 357 -27 377
rect -61 343 -27 357
rect -61 289 -27 305
rect -61 271 -27 289
rect -61 221 -27 233
rect -61 199 -27 221
rect -61 153 -27 161
rect -61 127 -27 153
rect -61 85 -27 89
rect -61 55 -27 85
rect -61 -17 -27 17
rect -61 -85 -27 -55
rect -61 -89 -27 -85
rect -61 -153 -27 -127
rect -61 -161 -27 -153
rect -61 -221 -27 -199
rect -61 -233 -27 -221
rect -61 -289 -27 -271
rect -61 -305 -27 -289
rect -61 -357 -27 -343
rect -61 -377 -27 -357
rect -61 -425 -27 -415
rect -61 -449 -27 -425
rect -61 -493 -27 -487
rect -61 -521 -27 -493
rect -61 -561 -27 -559
rect -61 -593 -27 -561
rect -61 -663 -27 -631
rect -61 -665 -27 -663
rect -61 -731 -27 -703
rect -61 -737 -27 -731
rect -61 -799 -27 -775
rect -61 -809 -27 -799
rect -61 -867 -27 -847
rect -61 -881 -27 -867
rect -61 -935 -27 -919
rect -61 -953 -27 -935
rect 27 935 61 953
rect 27 919 61 935
rect 27 867 61 881
rect 27 847 61 867
rect 27 799 61 809
rect 27 775 61 799
rect 27 731 61 737
rect 27 703 61 731
rect 27 663 61 665
rect 27 631 61 663
rect 27 561 61 593
rect 27 559 61 561
rect 27 493 61 521
rect 27 487 61 493
rect 27 425 61 449
rect 27 415 61 425
rect 27 357 61 377
rect 27 343 61 357
rect 27 289 61 305
rect 27 271 61 289
rect 27 221 61 233
rect 27 199 61 221
rect 27 153 61 161
rect 27 127 61 153
rect 27 85 61 89
rect 27 55 61 85
rect 27 -17 61 17
rect 27 -85 61 -55
rect 27 -89 61 -85
rect 27 -153 61 -127
rect 27 -161 61 -153
rect 27 -221 61 -199
rect 27 -233 61 -221
rect 27 -289 61 -271
rect 27 -305 61 -289
rect 27 -357 61 -343
rect 27 -377 61 -357
rect 27 -425 61 -415
rect 27 -449 61 -425
rect 27 -493 61 -487
rect 27 -521 61 -493
rect 27 -561 61 -559
rect 27 -593 61 -561
rect 27 -663 61 -631
rect 27 -665 61 -663
rect 27 -731 61 -703
rect 27 -737 61 -731
rect 27 -799 61 -775
rect 27 -809 61 -799
rect 27 -867 61 -847
rect 27 -881 61 -867
rect 27 -935 61 -919
rect 27 -953 61 -935
rect -17 -1081 17 -1047
<< metal1 >>
rect -29 1081 29 1087
rect -29 1047 -17 1081
rect 17 1047 29 1081
rect -29 1041 29 1047
rect -67 953 -21 1000
rect -67 919 -61 953
rect -27 919 -21 953
rect -67 881 -21 919
rect -67 847 -61 881
rect -27 847 -21 881
rect -67 809 -21 847
rect -67 775 -61 809
rect -27 775 -21 809
rect -67 737 -21 775
rect -67 703 -61 737
rect -27 703 -21 737
rect -67 665 -21 703
rect -67 631 -61 665
rect -27 631 -21 665
rect -67 593 -21 631
rect -67 559 -61 593
rect -27 559 -21 593
rect -67 521 -21 559
rect -67 487 -61 521
rect -27 487 -21 521
rect -67 449 -21 487
rect -67 415 -61 449
rect -27 415 -21 449
rect -67 377 -21 415
rect -67 343 -61 377
rect -27 343 -21 377
rect -67 305 -21 343
rect -67 271 -61 305
rect -27 271 -21 305
rect -67 233 -21 271
rect -67 199 -61 233
rect -27 199 -21 233
rect -67 161 -21 199
rect -67 127 -61 161
rect -27 127 -21 161
rect -67 89 -21 127
rect -67 55 -61 89
rect -27 55 -21 89
rect -67 17 -21 55
rect -67 -17 -61 17
rect -27 -17 -21 17
rect -67 -55 -21 -17
rect -67 -89 -61 -55
rect -27 -89 -21 -55
rect -67 -127 -21 -89
rect -67 -161 -61 -127
rect -27 -161 -21 -127
rect -67 -199 -21 -161
rect -67 -233 -61 -199
rect -27 -233 -21 -199
rect -67 -271 -21 -233
rect -67 -305 -61 -271
rect -27 -305 -21 -271
rect -67 -343 -21 -305
rect -67 -377 -61 -343
rect -27 -377 -21 -343
rect -67 -415 -21 -377
rect -67 -449 -61 -415
rect -27 -449 -21 -415
rect -67 -487 -21 -449
rect -67 -521 -61 -487
rect -27 -521 -21 -487
rect -67 -559 -21 -521
rect -67 -593 -61 -559
rect -27 -593 -21 -559
rect -67 -631 -21 -593
rect -67 -665 -61 -631
rect -27 -665 -21 -631
rect -67 -703 -21 -665
rect -67 -737 -61 -703
rect -27 -737 -21 -703
rect -67 -775 -21 -737
rect -67 -809 -61 -775
rect -27 -809 -21 -775
rect -67 -847 -21 -809
rect -67 -881 -61 -847
rect -27 -881 -21 -847
rect -67 -919 -21 -881
rect -67 -953 -61 -919
rect -27 -953 -21 -919
rect -67 -1000 -21 -953
rect 21 953 67 1000
rect 21 919 27 953
rect 61 919 67 953
rect 21 881 67 919
rect 21 847 27 881
rect 61 847 67 881
rect 21 809 67 847
rect 21 775 27 809
rect 61 775 67 809
rect 21 737 67 775
rect 21 703 27 737
rect 61 703 67 737
rect 21 665 67 703
rect 21 631 27 665
rect 61 631 67 665
rect 21 593 67 631
rect 21 559 27 593
rect 61 559 67 593
rect 21 521 67 559
rect 21 487 27 521
rect 61 487 67 521
rect 21 449 67 487
rect 21 415 27 449
rect 61 415 67 449
rect 21 377 67 415
rect 21 343 27 377
rect 61 343 67 377
rect 21 305 67 343
rect 21 271 27 305
rect 61 271 67 305
rect 21 233 67 271
rect 21 199 27 233
rect 61 199 67 233
rect 21 161 67 199
rect 21 127 27 161
rect 61 127 67 161
rect 21 89 67 127
rect 21 55 27 89
rect 61 55 67 89
rect 21 17 67 55
rect 21 -17 27 17
rect 61 -17 67 17
rect 21 -55 67 -17
rect 21 -89 27 -55
rect 61 -89 67 -55
rect 21 -127 67 -89
rect 21 -161 27 -127
rect 61 -161 67 -127
rect 21 -199 67 -161
rect 21 -233 27 -199
rect 61 -233 67 -199
rect 21 -271 67 -233
rect 21 -305 27 -271
rect 61 -305 67 -271
rect 21 -343 67 -305
rect 21 -377 27 -343
rect 61 -377 67 -343
rect 21 -415 67 -377
rect 21 -449 27 -415
rect 61 -449 67 -415
rect 21 -487 67 -449
rect 21 -521 27 -487
rect 61 -521 67 -487
rect 21 -559 67 -521
rect 21 -593 27 -559
rect 61 -593 67 -559
rect 21 -631 67 -593
rect 21 -665 27 -631
rect 61 -665 67 -631
rect 21 -703 67 -665
rect 21 -737 27 -703
rect 61 -737 67 -703
rect 21 -775 67 -737
rect 21 -809 27 -775
rect 61 -809 67 -775
rect 21 -847 67 -809
rect 21 -881 27 -847
rect 61 -881 67 -847
rect 21 -919 67 -881
rect 21 -953 27 -919
rect 61 -953 67 -919
rect 21 -1000 67 -953
rect -29 -1047 29 -1041
rect -29 -1081 -17 -1047
rect 17 -1081 29 -1047
rect -29 -1087 29 -1081
<< properties >>
string FIXED_BBOX -158 -1166 158 1166
<< end >>

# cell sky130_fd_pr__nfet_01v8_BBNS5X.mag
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
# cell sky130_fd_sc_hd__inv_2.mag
magic
tech sky130A
magscale 1 2
<< nwell >>
rect -38 261 314 582
<< pwell >>
rect 3 21 273 203
rect 29 -17 63 21
<< scnmos >>
rect 81 47 111 177
rect 165 47 195 177
<< scpmoshvt >>
rect 81 297 111 497
rect 165 297 195 497
<< ndiff >>
rect 29 165 81 177
rect 29 131 37 165
rect 71 131 81 165
rect 29 93 81 131
rect 29 59 37 93
rect 71 59 81 93
rect 29 47 81 59
rect 111 165 165 177
rect 111 131 121 165
rect 155 131 165 165
rect 111 93 165 131
rect 111 59 121 93
rect 155 59 165 93
rect 111 47 165 59
rect 195 165 247 177
rect 195 131 205 165
rect 239 131 247 165
rect 195 93 247 131
rect 195 59 205 93
rect 239 59 247 93
rect 195 47 247 59
<< pdiff >>
rect 29 485 81 497
rect 29 451 37 485
rect 71 451 81 485
rect 29 417 81 451
rect 29 383 37 417
rect 71 383 81 417
rect 29 349 81 383
rect 29 315 37 349
rect 71 315 81 349
rect 29 297 81 315
rect 111 485 165 497
rect 111 451 121 485
rect 155 451 165 485
rect 111 417 165 451
rect 111 383 121 417
rect 155 383 165 417
rect 111 349 165 383
rect 111 315 121 349
rect 155 315 165 349
rect 111 297 165 315
rect 195 485 247 497
rect 195 451 205 485
rect 239 451 247 485
rect 195 417 247 451
rect 195 383 205 417
rect 239 383 247 417
rect 195 349 247 383
rect 195 315 205 349
rect 239 315 247 349
rect 195 297 247 315
<< ndiffc >>
rect 37 131 71 165
rect 37 59 71 93
rect 121 131 155 165
rect 121 59 155 93
rect 205 131 239 165
rect 205 59 239 93
<< pdiffc >>
rect 37 451 71 485
rect 37 383 71 417
rect 37 315 71 349
rect 121 451 155 485
rect 121 383 155 417
rect 121 315 155 349
rect 205 451 239 485
rect 205 383 239 417
rect 205 315 239 349
<< poly >>
rect 81 497 111 523
rect 165 497 195 523
rect 81 265 111 297
rect 165 265 195 297
rect 21 249 195 265
rect 21 215 37 249
rect 71 215 195 249
rect 21 199 195 215
rect 81 177 111 199
rect 165 177 195 199
rect 81 21 111 47
rect 165 21 195 47
<< polycont >>
rect 37 215 71 249
<< locali >>
rect 0 527 29 561
rect 63 527 121 561
rect 155 527 213 561
rect 247 527 276 561
rect 25 485 71 527
rect 25 451 37 485
rect 25 417 71 451
rect 25 383 37 417
rect 25 349 71 383
rect 25 315 37 349
rect 25 299 71 315
rect 105 485 171 493
rect 105 451 121 485
rect 155 451 171 485
rect 105 417 171 451
rect 105 383 121 417
rect 155 383 171 417
rect 105 349 171 383
rect 105 315 121 349
rect 155 315 171 349
rect 105 297 171 315
rect 205 485 247 527
rect 239 451 247 485
rect 205 417 247 451
rect 239 383 247 417
rect 205 349 247 383
rect 239 315 247 349
rect 205 299 247 315
rect 21 249 87 265
rect 21 215 37 249
rect 71 215 87 249
rect 25 165 71 181
rect 121 177 171 297
rect 25 131 37 165
rect 25 93 71 131
rect 25 59 37 93
rect 25 17 71 59
rect 105 165 171 177
rect 105 131 121 165
rect 155 131 171 165
rect 105 93 171 131
rect 105 59 121 93
rect 155 59 171 93
rect 105 51 171 59
rect 205 165 247 181
rect 239 131 247 165
rect 205 93 247 131
rect 239 59 247 93
rect 205 17 247 59
rect 0 -17 29 17
rect 63 -17 121 17
rect 155 -17 213 17
rect 247 -17 276 17
<< viali >>
rect 29 527 63 561
rect 121 527 155 561
rect 213 527 247 561
rect 29 -17 63 17
rect 121 -17 155 17
rect 213 -17 247 17
<< metal1 >>
rect 0 561 276 592
rect 0 527 29 561
rect 63 527 121 561
rect 155 527 213 561
rect 247 527 276 561
rect 0 496 276 527
rect 0 17 276 48
rect 0 -17 29 17
rect 63 -17 121 17
rect 155 -17 213 17
rect 247 -17 276 17
rect 0 -48 276 -17
<< labels >>
flabel locali s 29 221 63 255 0 FreeSans 340 0 0 0 A
port 7 nsew
flabel locali s 121 153 155 187 0 FreeSans 340 0 0 0 Y
port 6 nsew
flabel locali s 121 289 155 323 0 FreeSans 340 0 0 0 Y
port 6 nsew
flabel locali s 121 221 155 255 0 FreeSans 340 0 0 0 Y
port 6 nsew
flabel nwell s 29 527 63 561 0 FreeSans 200 0 0 0 VPB
port 2 nsew
flabel pwell s 29 -17 63 17 0 FreeSans 200 0 0 0 VNB
port 3 nsew
flabel metal1 s 29 527 63 561 0 FreeSans 200 0 0 0 VPWR
port 4 nsew
flabel metal1 s 29 -17 63 17 0 FreeSans 200 0 0 0 VGND
port 5 nsew
rlabel comment s 0 0 0 0 4 inv_2
<< properties >>
string FIXED_BBOX 0 0 276 544
string path 0.000 0.000 1.380 0.000 
<< end >>
